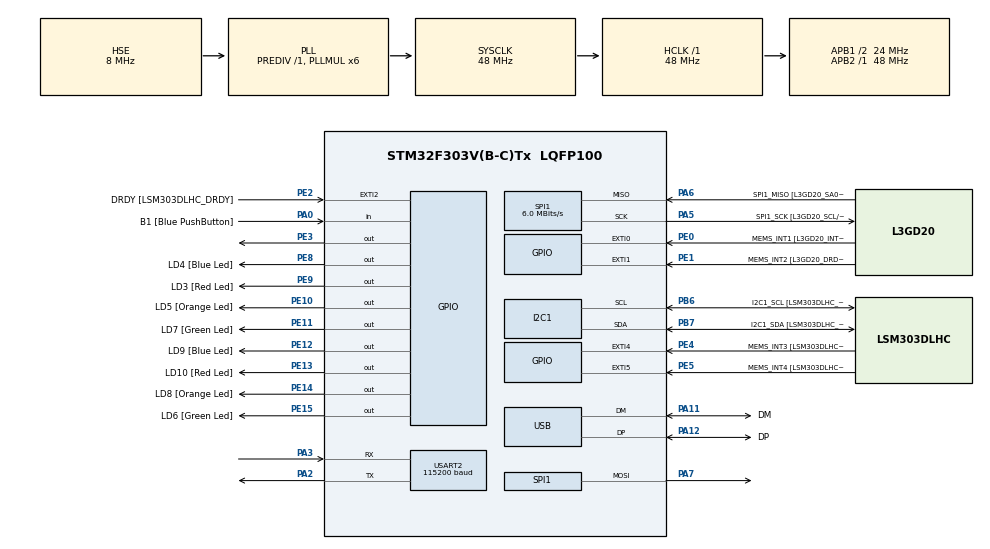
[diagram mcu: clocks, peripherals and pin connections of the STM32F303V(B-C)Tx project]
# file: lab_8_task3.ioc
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I2C1.Timing=0x00201D2B
I2C1.Timing-I2C=0x2000090E
Mcu.Family=STM32F3
Mcu.Name=STM32F303V(B-C)Tx
Mcu.Package=LQFP100
NVIC.PriorityGroup=NVIC_PRIORITYGROUP_0
NVIC.SPI1_IRQn=true\:0\:0\:false\:false\:true\:true\:true\:true
PA0.GPIO_Label=B1 [Blue PushButton]
PA0.Signal=GPIO_Input
PA11.GPIO_Label=DM
PA11.Mode=Device
PA11.Signal=USB_DM
PA12.GPIO_Label=DP
PA12.Mode=Device
PA12.Signal=USB_DP
PA13.GPIO_Label=SWDIO
PA13.Mode=Serial_Wire
PA13.Signal=SYS_JTMS-SWDIO
PA14.GPIO_Label=SWCLK
PA14.Mode=Serial_Wire
PA14.Signal=SYS_JTCK-SWCLK
PA2.Mode=Asynchronous
PA2.Signal=USART2_TX
PA3.Mode=Asynchronous
PA3.Signal=USART2_RX
PA5.GPIO_Label=SPI1_SCK [L3GD20_SCL/SPC]
PA5.Mode=Full_Duplex_Master
PA5.Signal=SPI1_SCK
PA6.GPIO_Label=SPI1_MISO [L3GD20_SA0/SDO]
PA6.Mode=Full_Duplex_Master
PA6.Signal=SPI1_MISO
PA7.Mode=Full_Duplex_Master
PA7.Signal=SPI1_MOSI
PB3.GPIO_Label=SWO
PB3.Signal=SYS_JTDO-TRACESWO
PB6.GPIO_Label=I2C1_SCL [LSM303DLHC_SCL]
PB6.GPIO_Pu=GPIO_PULLUP
PB6.Mode=I2C
PB6.Signal=I2C1_SCL
PB7.GPIO_Label=I2C1_SDA [LSM303DLHC_SDA]
PB7.GPIO_Pu=GPIO_PULLUP
PB7.Mode=I2C
PB7.Signal=I2C1_SDA
PC14-OSC32_IN.GPIO_Label=OSC32_IN
PC14-OSC32_IN.Signal=RCC_OSC32_IN
PC15-OSC32_OUT.GPIO_Label=OSC32_OUT
PC15-OSC32_OUT.Signal=RCC_OSC32_OUT
PE0.GPIO_Label=MEMS_INT1 [L3GD20_INT1]
PE0.GPIO_ModeDefaultEXTI=GPIO_MODE_EVT_RISING
PE0.Signal=GPXTI0
PE1.GPIO_Label=MEMS_INT2 [L3GD20_DRDY/INT2]
PE1.GPIO_ModeDefaultEXTI=GPIO_MODE_EVT_RISING
PE1.Signal=GPXTI1
PE10.GPIO_Label=LD5 [Orange Led]
PE10.Signal=GPIO_Output
PE11.GPIO_Label=LD7 [Green Led]
PE11.Signal=GPIO_Output
PE12.GPIO_Label=LD9 [Blue Led]
PE12.Signal=GPIO_Output
PE13.GPIO_Label=LD10 [Red Led]
PE13.Signal=GPIO_Output
PE14.GPIO_Label=LD8 [Orange Led]
PE14.Signal=GPIO_Output
PE15.GPIO_Label=LD6 [Green Led]
PE15.Signal=GPIO_Output
PE2.GPIO_Label=DRDY [LSM303DLHC_DRDY]
PE2.GPIO_ModeDefaultEXTI=GPIO_MODE_EVT_RISING
PE2.Signal=GPXTI2
PE3.Signal=GPIO_Output
PE4.GPIO_Label=MEMS_INT3 [LSM303DLHC_INT1]
PE4.GPIO_ModeDefaultEXTI=GPIO_MODE_EVT_RISING
PE4.Signal=GPXTI4
PE5.GPIO_Label=MEMS_INT4 [LSM303DLHC_INT2]
PE5.GPIO_ModeDefaultEXTI=GPIO_MODE_EVT_RISING
PE5.Signal=GPXTI5
PE8.GPIO_Label=LD4 [Blue Led]
PE8.Signal=GPIO_Output
PE9.GPIO_Label=LD3 [Red Led]
PE9.Signal=GPIO_Output
PF0-OSC_IN.GPIO_Label=OSC_IN
PF0-OSC_IN.Mode=HSE-External-Clock-Source
PF0-OSC_IN.Signal=RCC_OSC_IN
PF1-OSC_OUT.GPIO_Label=OSC_OUT
PF1-OSC_OUT.Signal=RCC_OSC_OUT
ProjectManager.HeapSize=0x200
ProjectManager.StackSize=0x400
ProjectManager.TargetToolchain=CMake
RCC.AHBFreq_Value=48000000
RCC.APB1CLKDivider=RCC_HCLK_DIV2
RCC.APB1Freq_Value=24000000
RCC.APB1TimFreq_Value=48000000
RCC.APB2Freq_Value=48000000
RCC.APB2TimFreq_Value=48000000
RCC.CortexFreq_Value=48000000
RCC.HCLKFreq_Value=48000000
RCC.HSE_VALUE=8000000
RCC.HSI_VALUE=8000000
RCC.LSE_VALUE=32768
RCC.PLLMUL=RCC_PLL_MUL6
RCC.SYSCLKFreq_VALUE=48000000
RCC.SYSCLKSourceVirtual=RCC_SYSCLKSOURCE_PLLCLK
RCC.USBFreq_Value=48000000
SPI1.BaudRatePrescaler=SPI_BAUDRATEPRESCALER_8
SPI1.CLKPhase=SPI_PHASE_2EDGE
SPI1.CLKPolarity=SPI_POLARITY_HIGH
SPI1.CalculateBaudRate=6.0 MBits/s
SPI1.DataSize=SPI_DATASIZE_8BIT
SPI1.Direction=SPI_DIRECTION_2LINES
SPI1.Mode=SPI_MODE_MASTER
SPI1.VirtualType=VM_MASTER
USART2.BaudRate=115200
USART2.VirtualMode-Asynchronous=VM_ASYNC
board=STM32F3DISCOVERY

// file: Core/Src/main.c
/* USER CODE BEGIN Header */
/**
  ******************************************************************************
  * @file           : main.c
  * @brief          : Main program body
  ******************************************************************************
  * @attention
  *
  * Copyright (c) 2026 STMicroelectronics.
  * All rights reserved.
  *
  * This software is licensed under terms that can be found in the LICENSE file
  * in the root directory of this software component.
  * If no LICENSE file comes with this software, it is provided AS-IS.
  *
  ******************************************************************************
  */
/* USER CODE END Header */
#include "main.h"

/* USER CODE BEGIN Includes */
#include <stdio.h>
#include <string.h>
/* USER CODE END Includes */

/* USER CODE BEGIN PD */

#define CTRL_REG1  0x20U
#define CTRL_REG4  0x23U
#define OUT_TEMP   0x26U
#define OUT_X_L    0x28U

#define GYRO_SENSITIVITY 0.00875f

/* USER CODE END PD */

I2C_HandleTypeDef hi2c1;

SPI_HandleTypeDef hspi1;

UART_HandleTypeDef huart2;

PCD_HandleTypeDef hpcd_USB_FS;

void SystemClock_Config(void);
static void MX_GPIO_Init(void);
static void MX_I2C1_Init(void);
static void MX_SPI1_Init(void);
static void MX_USB_PCD_Init(void);
static void MX_USART2_UART_Init(void);

/* USER CODE BEGIN 0 */

// Write a value into a gyroscope register
static HAL_StatusTypeDef Gyro_WriteRegister(uint8_t reg, uint8_t value)
{
    uint8_t tx[2] = {reg, value};

    HAL_GPIO_WritePin(GPIOE, GPIO_PIN_3, GPIO_PIN_RESET);

    HAL_StatusTypeDef result =HAL_SPI_Transmit(&hspi1, tx, 2, 100);

    HAL_GPIO_WritePin(GPIOE, GPIO_PIN_3, GPIO_PIN_SET);

    return result;
}

// Initialize the gyroscope
static HAL_StatusTypeDef Gyro_Init(void)
{
    if (Gyro_WriteRegister(CTRL_REG1, 0x8F) != HAL_OK)
        return HAL_ERROR;

    if (Gyro_WriteRegister(CTRL_REG4, 0x00) != HAL_OK)
        return HAL_ERROR;

    return HAL_OK;
}

// Read one register
static HAL_StatusTypeDef Gyro_ReadRegister(uint8_t reg, uint8_t *value)
{
    uint8_t tx[2] = {reg | 0x80, 0x00};
    uint8_t rx[2] = {0};

    HAL_GPIO_WritePin(GPIOE, GPIO_PIN_3, GPIO_PIN_RESET);

    HAL_StatusTypeDef result =  HAL_SPI_TransmitReceive(&hspi1, tx, rx, 2, 100);

    HAL_GPIO_WritePin(GPIOE, GPIO_PIN_3, GPIO_PIN_SET);

    if (result == HAL_OK)
        *value = rx[1];

    return result;
}

// Read all three axes
static HAL_StatusTypeDef Gyro_ReadAxes(uint8_t axes[6])
{
    uint8_t tx[7] = {0xE8, 0, 0, 0, 0, 0, 0};
    uint8_t rx[7] = {0};

    HAL_GPIO_WritePin(GPIOE, GPIO_PIN_3, GPIO_PIN_RESET);

    HAL_StatusTypeDef result =
        HAL_SPI_TransmitReceive(&hspi1, tx, rx, 7, 100);

    HAL_GPIO_WritePin(GPIOE, GPIO_PIN_3, GPIO_PIN_SET);

    if (result == HAL_OK)
    {
        for (int i = 0; i < 6; i++)
            axes[i] = rx[i + 1];
    }

    return result;
}
/* USER CODE END 0 */

int main(void)
{

  /* MCU Configuration--------------------------------------------------------*/

  /* Reset of all peripherals, Initializes the Flash interface and the Systick. */
  HAL_Init();

  /* Configure the system clock */
  SystemClock_Config();

  /* Initialize all configured peripherals */
  MX_GPIO_Init();
  MX_I2C1_Init();
  MX_SPI1_Init();
  MX_USB_PCD_Init();
  MX_USART2_UART_Init();
  /* USER CODE BEGIN 2 */

  HAL_GPIO_WritePin(GPIOE, GPIO_PIN_3, GPIO_PIN_SET);

  if (Gyro_Init() != HAL_OK)
  {
      const char error[] = "Gyroscope initialization failed\r\n";

      HAL_UART_Transmit(&huart2, (uint8_t *)error,sizeof(error) - 1, 100);

      Error_Handler();
  }

  HAL_Delay(100);

  /* USER CODE END 2 */

  /* Infinite loop */
  while (1)
  {

    /* USER CODE BEGIN 3 */
    uint8_t temp_raw = 0;
uint8_t axes[6] = {0};

char msg[80];

// Read temperature and all three axes
if (Gyro_ReadRegister(OUT_TEMP, &temp_raw) == HAL_OK &&
    Gyro_ReadAxes(axes) == HAL_OK)
{
    // Convert temperature into signed integer
    int8_t temperature = (int8_t)temp_raw;

    // Combine high and low bytes
    int16_t x_raw = (int16_t)(((uint16_t)axes[1] << 8) | axes[0]);
    int16_t y_raw = (int16_t)(((uint16_t)axes[3] << 8) | axes[2]);
    int16_t z_raw = (int16_t)(((uint16_t)axes[5] << 8) | axes[4]);

    // Convert raw values into degrees per second
      long x = (long)(x_raw * 0.00875f);
      long y = (long)(y_raw * 0.00875f);
      long z = (long)(z_raw * 0.00875f);

      // Print using UART2
      sprintf(msg, "%d,%ld,%ld,%ld\r\n",(int)temperature, x, y, z);

      HAL_UART_Transmit(&huart2, (uint8_t*)msg, strlen(msg), HAL_MAX_DELAY);
}
else
{
    const char error[] = "SPI read failed\r\n";

    HAL_UART_Transmit(&huart2,(uint8_t *)error,sizeof(error) - 1,100);
}

HAL_Delay(100);
  }
  /* USER CODE END 3 */
}

void SystemClock_Config(void)
{
  RCC_OscInitTypeDef RCC_OscInitStruct = {0};
  RCC_ClkInitTypeDef RCC_ClkInitStruct = {0};
  RCC_PeriphCLKInitTypeDef PeriphClkInit = {0};

  /** Initializes the RCC Oscillators according to the specified parameters
  * in the RCC_OscInitTypeDef structure.
  */
  RCC_OscInitStruct.OscillatorType = RCC_OSCILLATORTYPE_HSI|RCC_OSCILLATORTYPE_HSE;
  RCC_OscInitStruct.HSEState = RCC_HSE_BYPASS;
  RCC_OscInitStruct.HSEPredivValue = RCC_HSE_PREDIV_DIV1;
  RCC_OscInitStruct.HSIState = RCC_HSI_ON;
  RCC_OscInitStruct.HSICalibrationValue = RCC_HSICALIBRATION_DEFAULT;
  RCC_OscInitStruct.PLL.PLLState = RCC_PLL_ON;
  RCC_OscInitStruct.PLL.PLLSource = RCC_PLLSOURCE_HSE;
  RCC_OscInitStruct.PLL.PLLMUL = RCC_PLL_MUL6;
  if (HAL_RCC_OscConfig(&RCC_OscInitStruct) != HAL_OK)
  {
    Error_Handler();
  }

  /** Initializes the CPU, AHB and APB buses clocks
  */
  RCC_ClkInitStruct.ClockType = RCC_CLOCKTYPE_HCLK|RCC_CLOCKTYPE_SYSCLK
                              |RCC_CLOCKTYPE_PCLK1|RCC_CLOCKTYPE_PCLK2;
  RCC_ClkInitStruct.SYSCLKSource = RCC_SYSCLKSOURCE_PLLCLK;
  RCC_ClkInitStruct.AHBCLKDivider = RCC_SYSCLK_DIV1;
  RCC_ClkInitStruct.APB1CLKDivider = RCC_HCLK_DIV2;
  RCC_ClkInitStruct.APB2CLKDivider = RCC_HCLK_DIV1;

  if (HAL_RCC_ClockConfig(&RCC_ClkInitStruct, FLASH_LATENCY_1) != HAL_OK)
  {
    Error_Handler();
  }
  PeriphClkInit.PeriphClockSelection = RCC_PERIPHCLK_USB|RCC_PERIPHCLK_USART2
                              |RCC_PERIPHCLK_I2C1;
  PeriphClkInit.Usart2ClockSelection = RCC_USART2CLKSOURCE_PCLK1;
  PeriphClkInit.I2c1ClockSelection = RCC_I2C1CLKSOURCE_HSI;
  PeriphClkInit.USBClockSelection = RCC_USBCLKSOURCE_PLL;
  if (HAL_RCCEx_PeriphCLKConfig(&PeriphClkInit) != HAL_OK)
  {
    Error_Handler();
  }
}

static void MX_I2C1_Init(void)
{

  hi2c1.Instance = I2C1;
  hi2c1.Init.Timing = 0x00201D2B;
  hi2c1.Init.OwnAddress1 = 0;
  hi2c1.Init.AddressingMode = I2C_ADDRESSINGMODE_7BIT;
  hi2c1.Init.DualAddressMode = I2C_DUALADDRESS_DISABLE;
  hi2c1.Init.OwnAddress2 = 0;
  hi2c1.Init.OwnAddress2Masks = I2C_OA2_NOMASK;
  hi2c1.Init.GeneralCallMode = I2C_GENERALCALL_DISABLE;
  hi2c1.Init.NoStretchMode = I2C_NOSTRETCH_DISABLE;
  if (HAL_I2C_Init(&hi2c1) != HAL_OK)
  {
    Error_Handler();
  }

  /** Configure Analogue filter
  */
  if (HAL_I2CEx_ConfigAnalogFilter(&hi2c1, I2C_ANALOGFILTER_ENABLE) != HAL_OK)
  {
    Error_Handler();
  }

  /** Configure Digital filter
  */
  if (HAL_I2CEx_ConfigDigitalFilter(&hi2c1, 0) != HAL_OK)
  {
    Error_Handler();
  }

}

static void MX_SPI1_Init(void)
{

  /* SPI1 parameter configuration*/
  hspi1.Instance = SPI1;
  hspi1.Init.Mode = SPI_MODE_MASTER;
  hspi1.Init.Direction = SPI_DIRECTION_2LINES;
  hspi1.Init.DataSize = SPI_DATASIZE_8BIT;
  hspi1.Init.CLKPolarity = SPI_POLARITY_HIGH;
  hspi1.Init.CLKPhase = SPI_PHASE_2EDGE;
  hspi1.Init.NSS = SPI_NSS_SOFT;
  hspi1.Init.BaudRatePrescaler = SPI_BAUDRATEPRESCALER_8;
  hspi1.Init.FirstBit = SPI_FIRSTBIT_MSB;
  hspi1.Init.TIMode = SPI_TIMODE_DISABLE;
  hspi1.Init.CRCCalculation = SPI_CRCCALCULATION_DISABLE;
  hspi1.Init.CRCPolynomial = 7;
  hspi1.Init.CRCLength = SPI_CRC_LENGTH_DATASIZE;
  hspi1.Init.NSSPMode = SPI_NSS_PULSE_DISABLE;
  if (HAL_SPI_Init(&hspi1) != HAL_OK)
  {
    Error_Handler();
  }

}

static void MX_USART2_UART_Init(void)
{

  huart2.Instance = USART2;
  huart2.Init.BaudRate = 115200;
  huart2.Init.WordLength = UART_WORDLENGTH_8B;
  huart2.Init.StopBits = UART_STOPBITS_1;
  huart2.Init.Parity = UART_PARITY_NONE;
  huart2.Init.Mode = UART_MODE_TX_RX;
  huart2.Init.HwFlowCtl = UART_HWCONTROL_NONE;
  huart2.Init.OverSampling = UART_OVERSAMPLING_16;
  huart2.Init.OneBitSampling = UART_ONE_BIT_SAMPLE_DISABLE;
  huart2.AdvancedInit.AdvFeatureInit = UART_ADVFEATURE_NO_INIT;
  if (HAL_UART_Init(&huart2) != HAL_OK)
  {
    Error_Handler();
  }

}

static void MX_USB_PCD_Init(void)
{

  hpcd_USB_FS.Instance = USB;
  hpcd_USB_FS.Init.dev_endpoints = 8;
  hpcd_USB_FS.Init.speed = PCD_SPEED_FULL;
  hpcd_USB_FS.Init.phy_itface = PCD_PHY_EMBEDDED;
  hpcd_USB_FS.Init.low_power_enable = DISABLE;
  hpcd_USB_FS.Init.battery_charging_enable = DISABLE;
  if (HAL_PCD_Init(&hpcd_USB_FS) != HAL_OK)
  {
    Error_Handler();
  }

}

static void MX_GPIO_Init(void)
{
  GPIO_InitTypeDef GPIO_InitStruct = {0};

  /* GPIO Ports Clock Enable */
  __HAL_RCC_GPIOE_CLK_ENABLE();
  __HAL_RCC_GPIOC_CLK_ENABLE();
  __HAL_RCC_GPIOF_CLK_ENABLE();
  __HAL_RCC_GPIOA_CLK_ENABLE();
  __HAL_RCC_GPIOB_CLK_ENABLE();

  /*Configure GPIO pin Output Level */
  HAL_GPIO_WritePin(GPIOE, GPIO_PIN_3|LD4_Pin|LD3_Pin|LD5_Pin
                          |LD7_Pin|LD9_Pin|LD10_Pin|LD8_Pin
                          |LD6_Pin, GPIO_PIN_RESET);

  /*Configure GPIO pins : DRDY_Pin MEMS_INT3_Pin MEMS_INT4_Pin MEMS_INT1_Pin
                           MEMS_INT2_Pin */
  GPIO_InitStruct.Pin = DRDY_Pin|MEMS_INT3_Pin|MEMS_INT4_Pin|MEMS_INT1_Pin
                          |MEMS_INT2_Pin;
  GPIO_InitStruct.Mode = GPIO_MODE_EVT_RISING;
  GPIO_InitStruct.Pull = GPIO_NOPULL;
  HAL_GPIO_Init(GPIOE, &GPIO_InitStruct);

  /*Configure GPIO pins : PE3 LD4_Pin LD3_Pin LD5_Pin
                           LD7_Pin LD9_Pin LD10_Pin LD8_Pin
                           LD6_Pin */
  GPIO_InitStruct.Pin = GPIO_PIN_3|LD4_Pin|LD3_Pin|LD5_Pin
                          |LD7_Pin|LD9_Pin|LD10_Pin|LD8_Pin
                          |LD6_Pin;
  GPIO_InitStruct.Mode = GPIO_MODE_OUTPUT_PP;
  GPIO_InitStruct.Pull = GPIO_NOPULL;
  GPIO_InitStruct.Speed = GPIO_SPEED_FREQ_LOW;
  HAL_GPIO_Init(GPIOE, &GPIO_InitStruct);

  /*Configure GPIO pin : B1_Pin */
  GPIO_InitStruct.Pin = B1_Pin;
  GPIO_InitStruct.Mode = GPIO_MODE_INPUT;
  GPIO_InitStruct.Pull = GPIO_NOPULL;
  HAL_GPIO_Init(B1_GPIO_Port, &GPIO_InitStruct);

}

void Error_Handler(void)
{
  __disable_irq();
  while (1)
  {
  }
}
